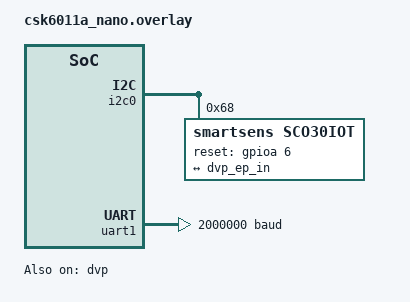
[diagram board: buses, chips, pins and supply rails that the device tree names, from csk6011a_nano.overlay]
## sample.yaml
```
tests:
  sample.board.csk6.driver.video.gc032a:
    platform_allow: csk6011_nano
    tags: csk6
    build_only: true
```

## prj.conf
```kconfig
# hardware settings
CONFIG_GPIO=y
CONFIG_I2C=y
CONFIG_VIDEO=y
CONFIG_VIDEO_CSK6_DVP=y
CONFIG_VIDEO_SCO30IOT=y
# CONFIG_SCO30IOT_FPS_15=y
# CONFIG_SCO30IOT_FPS_20=y
CONFIG_SCO30IOT_FPS_30=y

#log settings
CONFIG_LOG=y
CONFIG_LOG_PRINTK=y

#buffer space settings
CONFIG_VIDEO_BUFFER_POOL_SZ_MAX=800000
CONFIG_VIDEO_CUSTOM_SECTION=y
CONFIG_VIDEO_CUSTOM_SECTION_NAME=".psram_section"
CONFIG_CSK6_PSRAM=y
```

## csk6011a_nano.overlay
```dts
/*
 * Copyright (c) 2023 Anhui(Shenzhen) Listenai Co., Ltd.
 *
 * SPDX-License-Identifier: Apache-2.0
 */
/delete-node/ &psram_ap;
/delete-node/ &psram_share;

&psram0 {
	psram_ap: psram_ap@30500000 {
		compatible = "zephyr,memory-region","listenai,csk6-psram-partition";
		reg = <0x30500000 0x2b0000>;
		status = "okay";
		zephyr,memory-region = "PSRAMAP";


	};
	psram_share: psram_share@307b0000 {
		compatible = "listenai,csk6-psram-partition";
		reg = <0x307b0000 0x50000>;
		status = "okay";
	};
};

&csk6011a_nano_pinctrl {
	pinctrl_uart1_tx_default: uart1_tx_default{
		pinctrls = <UART1_TXD_GPIOA_10>;
	};

	pinctrl_i2c0_scl_default: i2c0_scl_default{
		pinctrls = <I2C0_SCL_GPIOB_04>;
	};

	pinctrl_i2c0_sda_default: i2c0_sda_default{
		pinctrls = <I2C0_SDA_GPIOB_03>;
	};

	pinctrl_dvp_clkout_default: dvp_clkout_default{
		pinctrls = <CLKP_OUT_GPIOA_07>;
	};

	pinctrl_dvp_vsync_default: dvp_vsync_default{
		pinctrls = <I_V_SYNC_GPIOA_14>;
	};

	pinctrl_dvp_hsync_default: dvp_hync_default{
		pinctrls = <I_H_SYNC_GPIOA_13>;
	};

	pinctrl_dvp_pclk_default: dvp_pclk_default{
		pinctrls = <I_PIXEL_CLK_GPIOA_12>;
	};

	pinctrl_dvp_d4_default: dvp_d4_default{
		pinctrls = <I_PIXEL_DATA4_GPIOA_04>;
	};

	pinctrl_dvp_d5_default: dvp_d5_default{
		pinctrls = <I_PIXEL_DATA5_GPIOA_05>;
	};

	pinctrl_dvp_d6_default: dvp_d6_default{
		pinctrls = <I_PIXEL_DATA6_GPIOA_06>;
	};

	pinctrl_dvp_d7_default: dvp_d7_default{
		pinctrls = <I_PIXEL_DATA7_GPIOB_07>;
	};


	pinctrl_dvp_d8_default: dvp_d8_default{
		pinctrls = <I_PIXEL_DATA8_GPIOB_08>;
	};


	pinctrl_dvp_d9_default: dvp_d9_default{
		pinctrls = <I_PIXEL_DATA9_GPIOB_09>;
	};


	pinctrl_dvp_d10_default: dvp_d10_default{
		pinctrls = <I_PIXEL_DATA10_GPIOA_08>;
	};


	pinctrl_dvp_d11_default: dvp_d11_default{
		pinctrls = <I_PIXEL_DATA11_GPIOA_09>;
	};
};

&spi0 {
	status = "disabled";
};

&spi1 {
	status = "disabled";
};


&i2c0 {
	status = "okay";
	pinctrl-0 = <&pinctrl_i2c0_scl_default &pinctrl_i2c0_sda_default>;
	pinctrl-names = "default";

	sco30iot: sco30iot@68 {
		compatible = "smartsens,sco30iot";
		status = "okay";
		label = "SCO30IOT";
		reg = <0x68>;
		reset-gpios = <&gpioa 6 0>;

		port {
			sco30iot_ep_out: endpoint {
				remote-endpoint = <&dvp_ep_in>;
			};
		};
	};

};

&uart1 {
	pinctrl-0 = <&pinctrl_uart1_tx_default>;
	pinctrl-names = "default";
	current-speed = <2000000>;
	status = "okay";
};

&dvp {
	status = "okay";
	sensor-label = "SCO30IOT";
	clock-prescaler = <7>;
	data-align-type = "high_align";
	pclk-polarity = "post_edge_sampling";
	hsync-polarity = "active_high";
	vsync-polarity = "active_low";

	pinctrl-0 = <
		&pinctrl_dvp_clkout_default
		&pinctrl_dvp_vsync_default
		&pinctrl_dvp_hsync_default
		&pinctrl_dvp_pclk_default
		&pinctrl_dvp_d4_default
		&pinctrl_dvp_d5_default
		&pinctrl_dvp_d6_default
		&pinctrl_dvp_d7_default
		&pinctrl_dvp_d8_default
		&pinctrl_dvp_d9_default
		&pinctrl_dvp_d10_default
		&pinctrl_dvp_d11_default
		>;
	pinctrl-names = "default";

	port {
		dvp_ep_in: endpoint {
			remote-endpoint = <&sco30iot_ep_out>;
		};
	};

};
```

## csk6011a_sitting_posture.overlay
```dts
/delete-node/ &psram_ap;
/delete-node/ &psram_share;

&psram0 {
	psram_ap: psram_ap@30600000 {
		compatible = "zephyr,memory-region","listenai,csk6-psram-partition";
		reg = <0x30600000 0x1b0000>;
		status = "okay";
		zephyr,memory-region = "PSRAMAP";


	};
	psram_share: psram_share@307b0000 {
		compatible = "listenai,csk6-psram-partition";
		reg = <0x307b0000 0x50000>;
		status = "okay";
	};
};

&pinctrl {
	pinctrl_uart1_tx_default: uart1_tx_default{
		pinctrls = <UART1_TXD_GPIOA_00>;
	};

	pinctrl_uart0_tx_default: uart0_tx_default{
		pinctrls = <UART0_TXD_GPIOB_03>;
	};
	pinctrl_uart0_rx_default: uart0_rx_default{
		pinctrls = <UART0_RXD_GPIOB_02>;
	};

	pinctrl_spi0_cs_default: spi0_cs_default {
	};
	pinctrl_spi0_miso_default: spi0_miso_default {
	};
	pinctrl_spi0_mosi_default: spi0_mosi_default {
	};
	pinctrl_spi0_sclk_default: spi0_sclk_default {
	};
	// 摄像头 I2C
	pinctrl_i2c1_scl_default: i2c1_scl_default{
		pinctrls = <I2C1_SCL_GPIOB_09>;
	};

	pinctrl_i2c1_sda_default: i2c1_sda_default{
		pinctrls = <I2C1_SDA_GPIOB_08>;
	};

	// DVP 接口
	// 20Mhz
	pinctrl_dvp_clkout_default: dvp_clkout_default{
		pinctrls = <CLKP_OUT_GPIOA_11>;
	};

	pinctrl_dvp_vsync_default: dvp_vsync_default{
		pinctrls = <I_V_SYNC_GPIOA_14>;
	};

	pinctrl_dvp_hsync_default: dvp_hync_default{
		pinctrls = <I_H_SYNC_GPIOA_13>;
	};

	pinctrl_dvp_pclk_default: dvp_pclk_default{
		pinctrls = <I_PIXEL_CLK_GPIOA_12>;
	};

	pinctrl_dvp_d4_default: dvp_d4_default{
		pinctrls = <I_PIXEL_DATA4_GPIOA_04>;
	};

	pinctrl_dvp_d5_default: dvp_d5_default{
		pinctrls = <I_PIXEL_DATA5_GPIOA_05>;
	};

	pinctrl_dvp_d6_default: dvp_d6_default{
		pinctrls = <I_PIXEL_DATA6_GPIOA_06>;
	};

	pinctrl_dvp_d7_default: dvp_d7_default{
		pinctrls = <I_PIXEL_DATA7_GPIOA_10>;
	};


	pinctrl_dvp_d8_default: dvp_d8_default{
		pinctrls = <I_PIXEL_DATA8_GPIOA_19>;
	};


	pinctrl_dvp_d9_default: dvp_d9_default{
		pinctrls = <I_PIXEL_DATA9_GPIOA_20>;
	};


	pinctrl_dvp_d10_default: dvp_d10_default{
		pinctrls = <I_PIXEL_DATA10_GPIOA_08>;
	};


	pinctrl_dvp_d11_default: dvp_d11_default{
		pinctrls = <I_PIXEL_DATA11_GPIOA_09>;
	};
};

&dvp {
	status = "okay";
	sensor-label = "SCO30IOT";
	clock-prescaler = <6>;
	data-align-type = "high_align";
	pclk-polarity = "post_edge_sampling";
	hsync-polarity = "active_high";
	vsync-polarity = "active_low";

	pinctrl-0 = <
		&pinctrl_dvp_clkout_default
		&pinctrl_dvp_vsync_default
		&pinctrl_dvp_hsync_default
		&pinctrl_dvp_pclk_default
		&pinctrl_dvp_d4_default
		&pinctrl_dvp_d5_default
		&pinctrl_dvp_d6_default
		&pinctrl_dvp_d7_default
		&pinctrl_dvp_d8_default
		&pinctrl_dvp_d9_default
		&pinctrl_dvp_d10_default
		&pinctrl_dvp_d11_default
		>;
	pinctrl-names = "default";

	port {
		dvp_ep_in: endpoint {
			remote-endpoint = <&sco30iot_ep_out>;
		};
	};

};

&i2c1 {
	status = "okay";
	pinctrl-0 = <&pinctrl_i2c1_scl_default &pinctrl_i2c1_sda_default>;
	pinctrl-names = "default";

	//0xD0, 0B1101000
	//0x68, 0B01101000
	sco30iot: sco30iot@68 {
		compatible = "smartsens,sco30iot";
		status = "okay";
		label = "SCO30IOT";
		reg = <0x68>;
		reset-gpios = <&gpioa 16 0>;

		port {
			sco30iot_ep_out: endpoint {
				remote-endpoint = <&dvp_ep_in>;
			};
		};
	};

};

&uart1 {
	pinctrl-0 = <&pinctrl_uart1_tx_default>;
	pinctrl-names = "default";
	current-speed = <921600>;
	status = "okay";
};

&spi0 {
	status = "disabled";
};

&spi1 {
	status = "disabled";
};
```

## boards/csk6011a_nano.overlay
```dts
/*
 * Copyright (c) 2023 Anhui(Shenzhen) Listenai Co., Ltd.
 *
 * SPDX-License-Identifier: Apache-2.0
 */
/delete-node/ &psram_ap;
/delete-node/ &psram_share;

&psram0 {
	psram_ap: psram_ap@30500000 {
		compatible = "zephyr,memory-region","listenai,csk6-psram-partition";
		reg = <0x30500000 0x2b0000>;
		status = "okay";
		zephyr,memory-region = "PSRAMAP";


	};
	psram_share: psram_share@307b0000 {
		compatible = "listenai,csk6-psram-partition";
		reg = <0x307b0000 0x50000>;
		status = "okay";
	};
};

&csk6011a_nano_pinctrl {
	pinctrl_uart1_tx_default: uart1_tx_default{
		pinctrls = <UART1_TXD_GPIOA_10>;
	};

	pinctrl_i2c0_scl_default: i2c0_scl_default{
		pinctrls = <I2C0_SCL_GPIOB_04>;
	};

	pinctrl_i2c0_sda_default: i2c0_sda_default{
		pinctrls = <I2C0_SDA_GPIOB_03>;
	};

	pinctrl_dvp_clkout_default: dvp_clkout_default{
		pinctrls = <CLKP_OUT_GPIOA_07>;
	};

	pinctrl_dvp_vsync_default: dvp_vsync_default{
		pinctrls = <I_V_SYNC_GPIOA_14>;
	};

	pinctrl_dvp_hsync_default: dvp_hync_default{
		pinctrls = <I_H_SYNC_GPIOA_13>;
	};

	pinctrl_dvp_pclk_default: dvp_pclk_default{
		pinctrls = <I_PIXEL_CLK_GPIOA_12>;
	};

	pinctrl_dvp_d4_default: dvp_d4_default{
		pinctrls = <I_PIXEL_DATA4_GPIOA_04>;
	};

	pinctrl_dvp_d5_default: dvp_d5_default{
		pinctrls = <I_PIXEL_DATA5_GPIOA_05>;
	};

	pinctrl_dvp_d6_default: dvp_d6_default{
		pinctrls = <I_PIXEL_DATA6_GPIOA_06>;
	};

	pinctrl_dvp_d7_default: dvp_d7_default{
		pinctrls = <I_PIXEL_DATA7_GPIOB_07>;
	};


	pinctrl_dvp_d8_default: dvp_d8_default{
		pinctrls = <I_PIXEL_DATA8_GPIOB_08>;
	};


	pinctrl_dvp_d9_default: dvp_d9_default{
		pinctrls = <I_PIXEL_DATA9_GPIOB_09>;
	};


	pinctrl_dvp_d10_default: dvp_d10_default{
		pinctrls = <I_PIXEL_DATA10_GPIOA_08>;
	};


	pinctrl_dvp_d11_default: dvp_d11_default{
		pinctrls = <I_PIXEL_DATA11_GPIOA_09>;
	};
};

&spi0 {
	status = "disabled";
};

&spi1 {
	status = "disabled";
};


&i2c0 {
	status = "okay";
	pinctrl-0 = <&pinctrl_i2c0_scl_default &pinctrl_i2c0_sda_default>;
	pinctrl-names = "default";

	sco30iot: sco30iot@68 {
		compatible = "smartsens,sco30iot";
		status = "okay";
		label = "SCO30IOT";
		reg = <0x68>;
		reset-gpios = <&gpioa 6 0>;

		port {
			sco30iot_ep_out: endpoint {
				remote-endpoint = <&dvp_ep_in>;
			};
		};
	};

};

&uart1 {
	pinctrl-0 = <&pinctrl_uart1_tx_default>;
	pinctrl-names = "default";
	current-speed = <2000000>;
	status = "okay";
};

&dvp {
	status = "okay";
	sensor-label = "SCO30IOT";
	clock-prescaler = <7>;
	data-align-type = "high_align";
	pclk-polarity = "post_edge_sampling";
	hsync-polarity = "active_high";
	vsync-polarity = "active_high";

	pinctrl-0 = <
		&pinctrl_dvp_clkout_default
		&pinctrl_dvp_vsync_default
		&pinctrl_dvp_hsync_default
		&pinctrl_dvp_pclk_default
		&pinctrl_dvp_d4_default
		&pinctrl_dvp_d5_default
		&pinctrl_dvp_d6_default
		&pinctrl_dvp_d7_default
		&pinctrl_dvp_d8_default
		&pinctrl_dvp_d9_default
		&pinctrl_dvp_d10_default
		&pinctrl_dvp_d11_default
		>;
	pinctrl-names = "default";

	port {
		dvp_ep_in: endpoint {
			remote-endpoint = <&sco30iot_ep_out>;
		};
	};

};
```

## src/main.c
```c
/*
 * Copyright (c) 2023 Anhui(Shenzhen) Listenai Co., Ltd.
 *
 * SPDX-License-Identifier: Apache-2.0
 */
#include <device.h>
#include <drivers/video.h>
#include <zephyr.h>

#define LOG_LEVEL CONFIG_LOG_DEFAULT_LEVEL
#include <logging/log.h>
LOG_MODULE_REGISTER(main);

#define VIDEO_DEV		DT_LABEL(DT_NODELABEL(dvp))
#define VBUF_NUM		2
#define IMAGE_HEIGHT		480
#define IMAGE_WIDTH		640
#define PIXEL_BYTES_SIZE	2
#define IMAGE_SIZE		(IMAGE_WIDTH * IMAGE_HEIGHT * PIXEL_BYTES_SIZE)

#define USE_SERIAL_PROTOCOL (1)

#define WEBUSB_IMAGE_DOWNSAMPLING	(5) // 缩小倍数

#ifdef WEBUSB_IMAGE_DOWNSAMPLING

#define WEBUSB_IMAGE_SCALE 	(1.0f / WEBUSB_IMAGE_DOWNSAMPLING)
#define RESAMPLE_HEIGHT		(IMAGE_HEIGHT / WEBUSB_IMAGE_DOWNSAMPLING)
#define RESAMPLE_WIDTH		(IMAGE_HEIGHT / WEBUSB_IMAGE_DOWNSAMPLING)

static uint8_t resample_img[RESAMPLE_HEIGHT * RESAMPLE_WIDTH * 2] __attribute__((section(".psram_section")));

void downsample(unsigned char *input_image, unsigned char *output_image,
				uint32_t img_w, uint32_t img_h, uint8_t downsampling,
				uint8_t alg_type) {
	uint32_t new_w = img_w / downsampling;
	uint32_t new_h = img_h / downsampling;

	if (alg_type == 0) {
		// Nearest neighbor algorithm
		for (uint32_t y = 0; y < new_h; ++y) {
			for (uint32_t x = 0; x < new_w; ++x) {
				uint32_t input_idx = (y * downsampling * img_w + x * downsampling) * 2;
				uint32_t output_idx = (y * new_w + x) * 2;
				output_image[output_idx] = input_image[input_idx];     // V
				output_image[output_idx + 1] = input_image[input_idx + 1]; // Y
				output_image[output_idx + 2] = input_image[input_idx + 2]; // U
				output_image[output_idx + 3] = input_image[input_idx + 3]; // Y
			}
		}
	} else if (alg_type == 1) {
		// Averaging algorithm
		for (uint32_t y = 0; y < new_h; ++y) {
			for (uint32_t x = 0; x < new_w; ++x) {
				uint32_t output_idx = (y * new_w + x) * 2;
				uint32_t sum_v = 0, sum_y1 = 0, sum_u = 0, sum_y2 = 0;

				for (uint8_t dy = 0; dy < downsampling; ++dy) {
					for (uint8_t dx = 0; dx < downsampling; ++dx) {
					uint32_t input_idx = ((y * downsampling + dy) * img_w + x * downsampling + dx) * 2;

					sum_v += input_image[input_idx];
					sum_y1 += input_image[input_idx + 1];
					sum_u += input_image[input_idx + 2];
					sum_y2 += input_image[input_idx + 3];
					}
				}

				output_image[output_idx] = sum_v / (downsampling * downsampling);
				output_image[output_idx + 1] = sum_y1 / (downsampling * downsampling);
				output_image[output_idx + 2] = sum_u / (downsampling * downsampling);
				output_image[output_idx + 3] = sum_y2 / (downsampling * downsampling);
			}
		}
	} else if (alg_type == 2) {

		// 2 bytes per pixel.
		int pos = 0;
		// Process every other line.
		for (int pixelY = 0; pixelY < img_h; pixelY += downsampling) { 
			// Work in blocks of 2 pixels, we discard the second.
			for (int pixelX = 0; pixelX < img_w; pixelX += 2 * downsampling) {
				// Position of pixel bytes.
				int start = ((pixelY * img_w) + pixelX) * 2;

				output_image[pos] = input_image[start];
				output_image[pos + 1] = input_image[start + 1];
				output_image[pos + 2] = input_image[start + 2];
				output_image[pos + 3] = input_image[start + 3];

				pos += 4;
			}
		}
	}
}

#endif

const struct device *video;

extern int frame_send(uint8_t *frameBuf, uint16_t width, uint16_t height, uint8_t mode);

int calculate_fps(struct video_buffer *vbuf)
{
	static uint32_t last_timestamp = 0;
	int fps;

	fps = vbuf->timestamp - last_timestamp ? 1000 / (vbuf->timestamp - last_timestamp) : 0;

	last_timestamp = vbuf->timestamp;

	return fps;
}

void main(void)
{
	struct video_buffer *buffers[VBUF_NUM], *vbuf;
	struct video_format fmt;
	struct video_caps caps;
	unsigned int frame = 0;
	size_t bsize;
	int i = 0;

	video = device_get_binding(VIDEO_DEV);

	if (video == NULL) {
		LOG_ERR("Video device %s not found, "
			"fallback to software generator.",
			VIDEO_DEV);

		return;
	}

	printk("- Device name: %s\n", VIDEO_DEV);

	// /* Get capabilities */
	if (video_get_caps(video, VIDEO_EP_OUT, &caps)) {
		LOG_ERR("Unable to retrieve video capabilities");
		return;
	}

	printk("- Capabilities:\n");
	while (caps.format_caps[i].pixelformat) {
		const struct video_format_cap *fcap = &caps.format_caps[i];
		/* fourcc to string */
		printk("  %c%c%c%c width [%u; %u; %u] height [%u; %u; %u]\n",
		       (char)fcap->pixelformat, (char)(fcap->pixelformat >> 8),
		       (char)(fcap->pixelformat >> 16), (char)(fcap->pixelformat >> 24),
		       fcap->width_min, fcap->width_max, fcap->width_step, fcap->height_min,
		       fcap->height_max, fcap->height_step);
		i++;
	}

	fmt.pixelformat = VIDEO_PIX_FMT_VYUY;
	fmt.width = IMAGE_WIDTH;
	fmt.height = IMAGE_HEIGHT;
	fmt.pitch = fmt.width * PIXEL_BYTES_SIZE;
	if (video_set_format(video, VIDEO_EP_OUT, &fmt)) {
		LOG_ERR("Unable to set video format");
		return;
	}

	/* Size to allocate for each buffer */
	bsize = fmt.height * fmt.pitch;

	/* Alloc video buffers and enqueue for capture */
	for (i = 0; i < ARRAY_SIZE(buffers); i++) {
		LOG_INF("Alloc vide buffer: %d\n", bsize);
		buffers[i] = video_buffer_alloc(bsize);
		if (buffers[i] == NULL) {
			LOG_ERR("Unable to alloc video buffer");
			return;
		}

		video_enqueue(video, VIDEO_EP_OUT, buffers[i]);
	}

	/* Start video capture */
	if (video_stream_start(video)) {
		LOG_ERR("Unable to start capture (interface)");
		return;
	}

	/* Grab video frames */
	while (1) {
		int err;
		err = video_dequeue(video, VIDEO_EP_OUT, &vbuf, K_FOREVER);
		if (err) {
			LOG_ERR("Unable to dequeue video buf");
			return;
		}

#if USE_SERIAL_PROTOCOL
	#ifdef WEBUSB_IMAGE_DOWNSAMPLING
			uint32_t dst_width = IMAGE_WIDTH * WEBUSB_IMAGE_SCALE;
			uint32_t dst_height = IMAGE_HEIGHT * WEBUSB_IMAGE_SCALE;
			downsample(vbuf->buffer, resample_img, 
				IMAGE_WIDTH, IMAGE_HEIGHT, WEBUSB_IMAGE_DOWNSAMPLING, 0);
			frame_send(resample_img, dst_width, dst_height, 0);
	#else
			frame_send(vbuf->buffer, fmt.width, fmt.height, 0);
	#endif
#endif

		LOG_INF("Got frame %u! size: %u; timestamp %u ms fps %d", frame++,
			vbuf->bytesused, vbuf->timestamp, calculate_fps(vbuf));

		err = video_enqueue(video, VIDEO_EP_OUT, vbuf);
		if (err) {
			LOG_ERR("Unable to requeue video buf");
			return;
		}
	}
}
```
